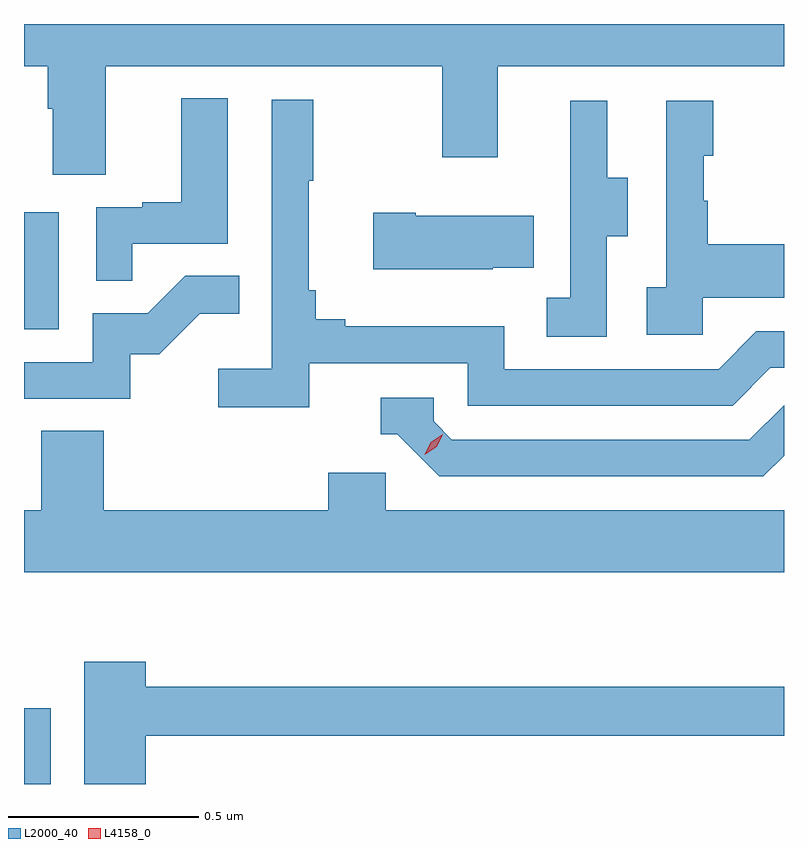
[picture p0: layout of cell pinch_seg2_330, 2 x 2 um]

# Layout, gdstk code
import gdstk
lib = gdstk.Library(unit=1e-6, precision=1e-09)
def R(c, l, rs):  # rectangles x0, y0, x1, y1
    for r in rs: c.add(gdstk.rectangle(r[:2], r[2:], *l))
def P(c, l, *ps):  # polygons
    for p in ps: c.add(gdstk.Polygon(p, *l))
L2000_40 = (2000, 40)
L4158_0 = (4158, 0)

pinch_seg2_330 = lib.new_cell('pinch_seg2_330')
R(pinch_seg2_330, L2000_40, [(912.2,628.431,912.27,628.63), (912.2,629.628,912.292,629.935)])
P(pinch_seg2_330, L2000_40, [(912.415,630.32),(913.3,630.32),(913.3,630.081),(913.447,630.081),(913.447,630.32),(914.2,630.32),(914.2,630.431),(912.2,630.431),(912.2,630.32),(912.263,630.32),(912.263,630.208),(912.275,630.208),(912.275,630.034),(912.415,630.034)],
  [(912.485,629.853),(912.736,629.853),(912.736,630.235),(912.614,630.235),(912.614,629.962),(912.511,629.962),(912.511,629.949),(912.39,629.949),(912.39,629.755),(912.485,629.755)],
  [(912.95,629.538),(913.368,629.538),(913.368,629.427),(914.065,629.427),(914.164,629.526),(914.2,629.526),(914.2,629.622),(914.127,629.622),(914.028,629.523),(913.464,629.523),(913.464,629.635),(913.045,629.635),(913.045,629.654),(912.968,629.654),(912.968,629.731),(912.949,629.731),(912.949,630.019),(912.961,630.019),(912.961,630.232),(912.852,630.232),(912.852,629.524),(912.711,629.524),(912.711,629.422),(912.95,629.422)],
  [(913.734,629.872),(913.789,629.872),(913.789,630.027),(913.735,630.027),(913.735,630.229),(913.637,630.229),(913.637,630.015),(913.638,630.015),(913.638,629.711),(913.575,629.711),(913.575,629.608),(913.734,629.608)],
  [(913.986,629.711),(914.2,629.711),(914.2,629.851),(913.999,629.851),(913.999,629.966),(913.989,629.966),(913.989,630.084),(914.014,630.084),(914.014,630.229),(913.89,630.229),(913.89,629.738),(913.839,629.738),(913.839,629.613),(913.986,629.613)],
  [(913.433,629.789),(913.541,629.789),(913.541,629.926),(913.231,629.926),(913.231,629.934),(913.119,629.934),(913.119,629.786),(913.433,629.786)],
  [(912.48,629.562),(912.556,629.562),(912.663,629.669),(912.767,629.669),(912.767,629.768),(912.624,629.768),(912.526,629.67),(912.381,629.67),(912.381,629.541),(912.2,629.541),(912.2,629.445),(912.48,629.445)],
  [(914.2,629.295),(914.2,629.428),(914.109,629.337),(913.326,629.337),(913.278,629.385),(913.278,629.448),(913.139,629.448),(913.139,629.352),(913.182,629.352),(913.293,629.241),(914.146,629.241)],
  [(914.2,629.152),(913.152,629.152),(913.152,629.25),(913.001,629.25),(913.001,629.152),(912.41,629.152),(912.41,629.36),(912.245,629.36),(912.245,629.152),(912.2,629.152),(912.2,628.988),(914.2,628.988)],
  [(912.52,628.558),(914.2,628.558),(914.2,628.687),(912.52,628.687),(912.52,628.753),(912.359,628.753),(912.359,628.431),(912.52,628.431)])
P(pinch_seg2_330, L4158_0, [(913.255,629.298),(913.255,629.298),(913.271,629.331),(913.302,629.351),(913.302,629.351),(913.302,629.351),(913.286,629.318),(913.255,629.298)])

lib.write_gds('pinch_seg2_330.gds')
